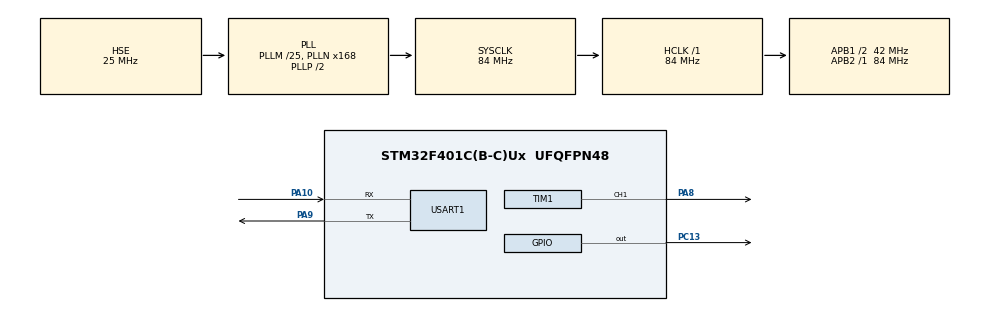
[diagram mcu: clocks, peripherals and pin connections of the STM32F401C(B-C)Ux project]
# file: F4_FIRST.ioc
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Mcu.Family=STM32F4
Mcu.Name=STM32F401C(B-C)Ux
Mcu.Package=UFQFPN48
NVIC.PriorityGroup=NVIC_PRIORITYGROUP_4
NVIC.TIM2_IRQn=true\:0\:0\:false\:false\:true\:true\:true
NVIC.TIM4_IRQn=true\:0\:0\:false\:false\:true\:true\:true
PA10.Mode=Asynchronous
PA10.Signal=USART1_RX
PA13.Mode=JTAG_4_pins
PA13.Signal=SYS_JTMS-SWDIO
PA14.Mode=JTAG_4_pins
PA14.Signal=SYS_JTCK-SWCLK
PA15.Mode=JTAG_4_pins
PA15.Signal=SYS_JTDI
PA8.Signal=S_TIM1_CH1
PA9.Mode=Asynchronous
PA9.Signal=USART1_TX
PB3.Mode=JTAG_4_pins
PB3.Signal=SYS_JTDO-SWO
PC13-ANTI_TAMP.Signal=GPIO_Output
PH0\ -\ OSC_IN.Mode=HSE-External-Oscillator
PH0\ -\ OSC_IN.Signal=RCC_OSC_IN
PH1\ -\ OSC_OUT.Mode=HSE-External-Oscillator
PH1\ -\ OSC_OUT.Signal=RCC_OSC_OUT
ProjectManager.HeapSize=0x200
ProjectManager.StackSize=0x400
ProjectManager.TargetToolchain=MDK-ARM V5.27
RCC.48MHZClocksFreq_Value=42000000
RCC.AHBFreq_Value=84000000
RCC.APB1CLKDivider=RCC_HCLK_DIV2
RCC.APB1Freq_Value=42000000
RCC.APB1TimFreq_Value=84000000
RCC.APB2Freq_Value=84000000
RCC.APB2TimFreq_Value=84000000
RCC.CortexFreq_Value=84000000
RCC.HCLKFreq_Value=84000000
RCC.HSE_VALUE=25000000
RCC.HSI_VALUE=16000000
RCC.LSE_VALUE=32768
RCC.PLLM=25
RCC.PLLN=168
RCC.PLLSourceVirtual=RCC_PLLSOURCE_HSE
RCC.SYSCLKFreq_VALUE=84000000
RCC.SYSCLKSource=RCC_SYSCLKSOURCE_PLLCLK
RCC.VCOOutputFreq_Value=168000000
SH.S_TIM1_CH1.0=TIM1_CH1,PWM Generation1 CH1
TIM1.Channel-PWM\ Generation1\ CH1=TIM_CHANNEL_1
TIM1.Period=800-1
TIM1.Prescaler=1000-1
TIM2.Period=5000-1
TIM2.Prescaler=72-1
TIM4.Period=8399
TIM4.Prescaler=49
USART1.VirtualMode=VM_ASYNC
VP_TIM2_VS_ClockSourceINT.Mode=Internal
VP_TIM4_VS_ClockSourceINT.Mode=Internal
board=custom

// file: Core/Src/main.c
/* USER CODE BEGIN Header */
/**
  ******************************************************************************
  * @file           : main.c
  * @brief          : Main program body
  ******************************************************************************
  * @attention
  *
  * <h2><center>&copy; Copyright (c) 2021 STMicroelectronics.
  * All rights reserved.</center></h2>
  *
  * This software component is licensed by ST under BSD 3-Clause license,
  * the "License"; You may not use this file except in compliance with the
  * License. You may obtain a copy of the License at:
  *                        opensource.org/licenses/BSD-3-Clause
  *
  ******************************************************************************
  */
/* USER CODE END Header */
#include "main.h"
#include "tim.h"
#include "usart.h"
#include "gpio.h"

/* USER CODE BEGIN Includes */
#include "stdio.h"
/* USER CODE END Includes */

/* USER CODE BEGIN PTD */
void HAL_TIM_PeriodElapsedCallback(TIM_HandleTypeDef *htim)       //程序总定时器中断，5ms一次。
{
//添加回调后的程序逻辑
        if (htim->Instance == htim4.Instance) //判断是否定时器4
        {
//					 read_dmp(&mpu_pose_msg);//读取mpu姿态角。
//					 w_mpu_read_all_raw_data(&mpu_raw_msg); //读取mpu6050原始数据。
						//printf("%d,%d\r\n",Read_Encoder(2),Read_Encoder(3));
					printf("test");
//					 Read_Encoder(2);
//					 Read_Encoder(3);
//					TIM3->CCR1 = 120;
//					TIM3->CCR2 = 120;
//					HAL_GPIO_WritePin(GPIOC,GPIO_PIN_14,0);
//					HAL_GPIO_WritePin(GPIOC,GPIO_PIN_15,1);
//					HAL_GPIO_WritePin(GPIOA,GPIO_PIN_4,0);
//					HAL_GPIO_WritePin(GPIOA,GPIO_PIN_5,1);
					// pid();              //控制函数均放在此。
					 //oled_change();     //oled显示动态信息。
        }
}
/* USER CODE END PTD */

/* USER CODE BEGIN PV */
int fputc(int ch, FILE *f)
{
  HAL_UART_Transmit(&huart1, (uint8_t *)&ch, 1, 1000);
  return ch;
}                           //重定向c库函数getchar,scanf到DEBUG_USARTx
int fgetc(FILE *f)
{
  uint8_t ch = 0;
  HAL_UART_Receive(&huart1, &ch, 1, 1000);
  return ch;
}
/* USER CODE END PV */

void SystemClock_Config(void);

int main(void)
{

  /* MCU Configuration--------------------------------------------------------*/

  /* Reset of all peripherals, Initializes the Flash interface and the Systick. */
  HAL_Init();

  /* Configure the system clock */
  SystemClock_Config();

  /* Initialize all configured peripherals */
  MX_GPIO_Init();
  MX_TIM1_Init();
  MX_TIM2_Init();
  MX_USART1_UART_Init();
  MX_TIM4_Init();
  /* USER CODE BEGIN 2 */
	HAL_TIM_Base_Start(&htim2);
	HAL_TIM_Base_Start_IT(&htim2);
	//HAL_GPIO_WritePin(GPIOC ,GPIO_PIN_13,0);
	printf ("test");
		HAL_TIM_Base_Start_IT(&htim4); /*使能定时器4中断*/
  /* USER CODE END 2 */

  /* Infinite loop */
  while (1)
  {

    /* USER CODE BEGIN 3 */
//		HAL_GPIO_WritePin(GPIOC ,GPIO_PIN_13,0);
//		HAL_Delay (100);
//		HAL_GPIO_WritePin(GPIOC ,GPIO_PIN_13,1);
//		HAL_Delay (100);
		printf ("认为可以发送汉字");//只有编译器5才会不报警告汉字，而编译器6会报警告汉字。这就是两个编译之间的区别。
		 //汪银，测试
  }
  /* USER CODE END 3 */
}

void SystemClock_Config(void)
{
  RCC_OscInitTypeDef RCC_OscInitStruct = {0};
  RCC_ClkInitTypeDef RCC_ClkInitStruct = {0};

  /** Configure the main internal regulator output voltage
  */
  __HAL_RCC_PWR_CLK_ENABLE();
  __HAL_PWR_VOLTAGESCALING_CONFIG(PWR_REGULATOR_VOLTAGE_SCALE2);
  /** Initializes the RCC Oscillators according to the specified parameters
  * in the RCC_OscInitTypeDef structure.
  */
  RCC_OscInitStruct.OscillatorType = RCC_OSCILLATORTYPE_HSE;
  RCC_OscInitStruct.HSEState = RCC_HSE_ON;
  RCC_OscInitStruct.PLL.PLLState = RCC_PLL_ON;
  RCC_OscInitStruct.PLL.PLLSource = RCC_PLLSOURCE_HSE;
  RCC_OscInitStruct.PLL.PLLM = 25;
  RCC_OscInitStruct.PLL.PLLN = 168;
  RCC_OscInitStruct.PLL.PLLP = RCC_PLLP_DIV2;
  RCC_OscInitStruct.PLL.PLLQ = 4;
  if (HAL_RCC_OscConfig(&RCC_OscInitStruct) != HAL_OK)
  {
    Error_Handler();
  }
  /** Initializes the CPU, AHB and APB buses clocks
  */
  RCC_ClkInitStruct.ClockType = RCC_CLOCKTYPE_HCLK|RCC_CLOCKTYPE_SYSCLK
                              |RCC_CLOCKTYPE_PCLK1|RCC_CLOCKTYPE_PCLK2;
  RCC_ClkInitStruct.SYSCLKSource = RCC_SYSCLKSOURCE_PLLCLK;
  RCC_ClkInitStruct.AHBCLKDivider = RCC_SYSCLK_DIV1;
  RCC_ClkInitStruct.APB1CLKDivider = RCC_HCLK_DIV2;
  RCC_ClkInitStruct.APB2CLKDivider = RCC_HCLK_DIV1;

  if (HAL_RCC_ClockConfig(&RCC_ClkInitStruct, FLASH_LATENCY_2) != HAL_OK)
  {
    Error_Handler();
  }
}

void Error_Handler(void)
{
  __disable_irq();
  while (1)
  {
  }
}

/************************ (C) COPYRIGHT STMicroelectronics *****END OF FILE****/
